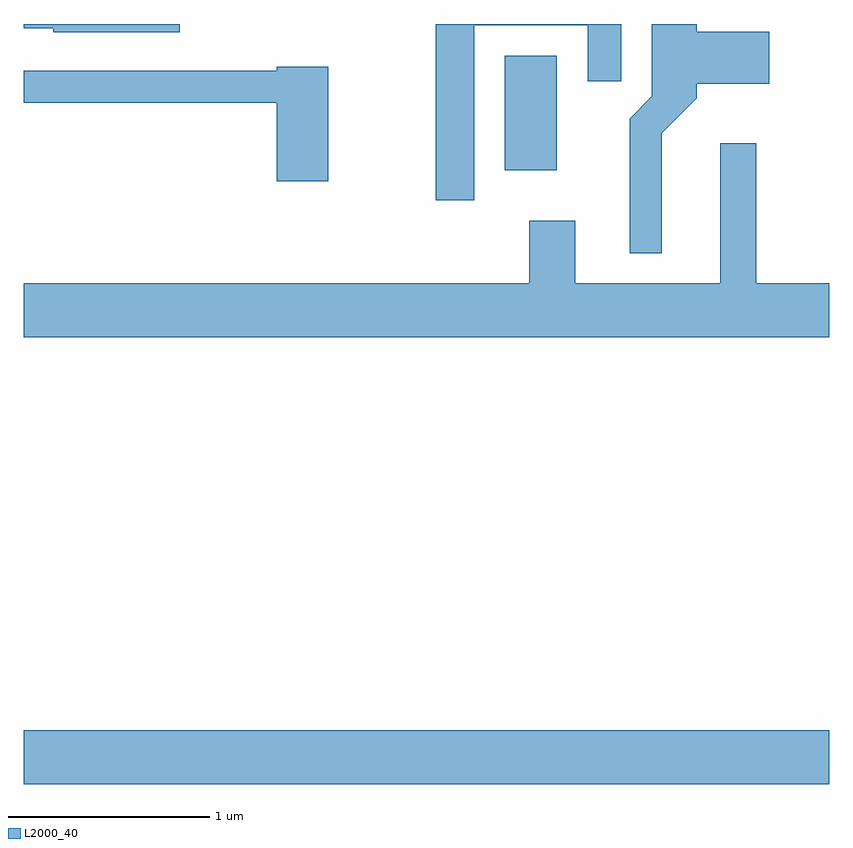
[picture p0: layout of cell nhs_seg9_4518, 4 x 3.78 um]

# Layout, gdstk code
import gdstk
lib = gdstk.Library(unit=1e-6, precision=1e-09)
def R(c, l, rs):  # rectangles x0, y0, x1, y1
    for r in rs: c.add(gdstk.rectangle(r[:2], r[2:], *l))
def P(c, l, *ps):  # polygons
    for p in ps: c.add(gdstk.Polygon(p, *l))
L2000_40 = (2000, 40)

nhs_seg9_4518 = lib.new_cell('nhs_seg9_4518')
R(nhs_seg9_4518, L2000_40, [(317.611,2040.656,321.611,2040.924), (320.001,2043.706,320.259,2044.274)])
P(nhs_seg9_4518, L2000_40, [(318.384,2044.432),(317.611,2044.432),(317.611,2044.411),(317.756,2044.411),(317.756,2044.391),(318.384,2044.391)],
  [(320.779,2043.889),(320.954,2044.064),(320.954,2044.136),(321.314,2044.136),(321.314,2044.394),(320.954,2044.394),(320.954,2044.432),(320.731,2044.432),(320.731,2044.072),(320.621,2043.962),(320.621,2043.293),(320.779,2043.293)],
  [(319.849,2044.426),(320.411,2044.426),(320.411,2044.148),(320.579,2044.148),(320.579,2044.432),(319.656,2044.432),(319.656,2043.556),(319.849,2043.556)],
  [(319.124,2044.219),(318.866,2044.219),(318.866,2044.199),(317.611,2044.199),(317.611,2044.041),(318.866,2044.041),(318.866,2043.651),(319.124,2043.651)],
  [(321.611,2043.144),(321.249,2043.144),(321.249,2043.839),(321.071,2043.839),(321.071,2043.144),(320.349,2043.144),(320.349,2043.454),(320.121,2043.454),(320.121,2043.144),(317.611,2043.144),(317.611,2042.876),(321.611,2042.876)])

lib.write_gds('nhs_seg9_4518.gds')
